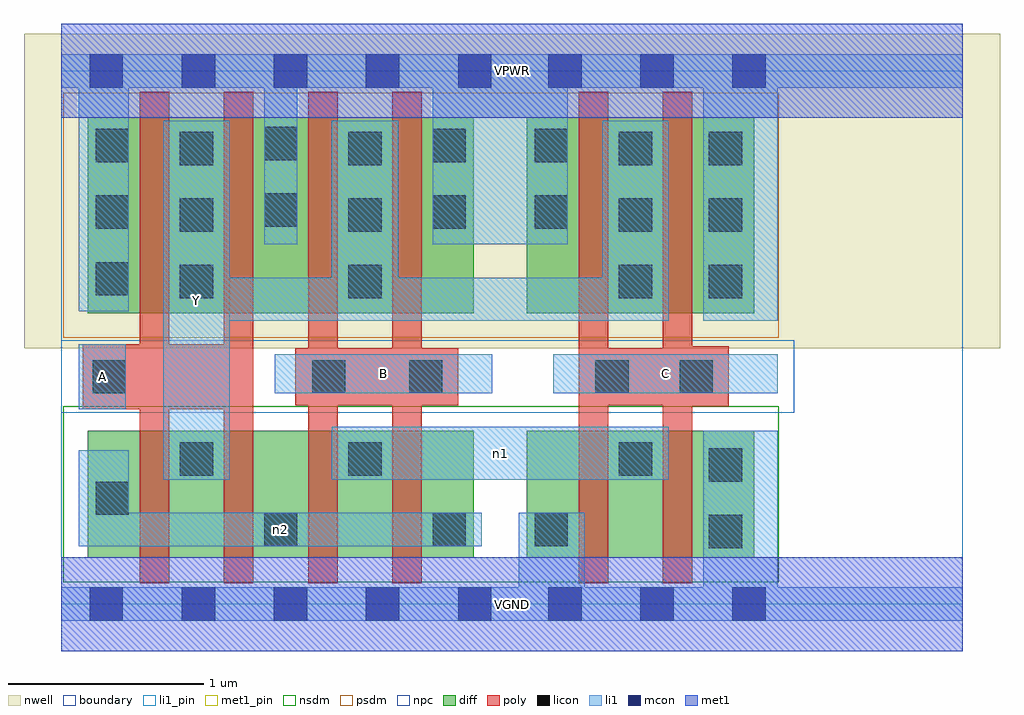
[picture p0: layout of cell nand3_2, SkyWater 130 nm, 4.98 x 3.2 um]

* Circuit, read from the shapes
.subckt nand3_2 A B C VGND VPWR Y n1 n2
XM1 Y A n2 VSUBS sky130_fd_pr__nfet_01v8 w=0.65 l=0.15 m=2
XM2 n1 B n2 VSUBS sky130_fd_pr__nfet_01v8 w=0.65 l=0.15 m=2
XM3 n1 C VGND VSUBS sky130_fd_pr__nfet_01v8 w=0.65 l=0.15 m=2
XM4 Y A VPWR n3 sky130_fd_pr__pfet_01v8 w=1 l=0.15 m=2
XM5 Y B VPWR n3 sky130_fd_pr__pfet_01v8 w=1 l=0.15 m=2
XM6 Y C VPWR n3 sky130_fd_pr__pfet_01v8 w=1 l=0.15 m=2
.ends

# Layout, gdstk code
import gdstk
lib = gdstk.Library(unit=1e-6, precision=1e-09)
def R(c, l, rs):  # rectangles x0, y0, x1, y1
    for r in rs: c.add(gdstk.rectangle(r[:2], r[2:], *l))
def A(c, l, x, y, w, h, nx, ny, dx, dy):  # array of equal rectangles
    R(c, l, [(x+i*dx, y+j*dy, x+i*dx+w, y+j*dy+h) for i in range(nx) for j in range(ny)])
nwell = (64, 20)
diff = (65, 20)
poly = (66, 20)
licon = (66, 44)
li1_pin = (67, 16)
li1 = (67, 20)
mcon = (67, 44)
met1_pin = (68, 16)
met1 = (68, 20)
nsdm = (93, 44)
psdm = (94, 20)
npc = (95, 20)
boundary = (235, 4)

nand3_2 = lib.new_cell('nand3_2')
R(nand3_2, nwell, [(-0.19,1.305,4.79,2.91), (0,1.305,4.6,2.91)])
R(nand3_2, diff, [(0.135,0.235,2.105,0.885), (2.375,0.235,3.535,0.885), (0.135,1.485,2.105,2.485), (2.375,1.485,3.535,2.485)])
A(nand3_2, poly, 0.4, 0.105, 0.15, 2.51, 4, 1, 0.43, 0)
R(nand3_2, poly, [(2.64,0.105,2.79,2.615), (3.07,0.105,3.22,2.615), (0.11,0.995,0.98,1.325), (3.07,1.01,3.405,1.315), (1.195,1.015,2.025,1.305), (2.64,1.015,3.405,1.305)])
A(nand3_2, licon, 0.605, 1.56, 0.17, 0.17, 1, 3, 0, 0.34)
A(nand3_2, licon, 1.465, 1.56, 0.17, 0.17, 1, 3, 0, 0.34)
A(nand3_2, licon, 2.845, 1.56, 0.17, 0.17, 1, 3, 0, 0.34)
A(nand3_2, licon, 3.305, 1.56, 0.17, 0.17, 1, 3, 0, 0.34)
A(nand3_2, licon, 0.175, 1.575, 0.17, 0.17, 1, 3, 0, 0.34)
R(nand3_2, licon, [(3.305,0.285,3.475,0.455), (1.035,0.295,1.205,0.465), (1.895,0.295,2.065,0.465), (2.415,0.295,2.585,0.465), (0.175,0.455,0.345,0.625), (3.305,0.625,3.475,0.795), (0.605,0.655,0.775,0.825), (1.465,0.655,1.635,0.825), (2.845,0.655,3.015,0.825), (0.16,1.075,0.33,1.245), (1.28,1.075,1.45,1.245), (1.775,1.075,1.945,1.245), (2.725,1.075,2.895,1.245), (3.155,1.075,3.325,1.245), (1.895,1.915,2.065,2.085), (2.415,1.915,2.585,2.085), (1.035,1.925,1.205,2.095), (1.895,2.255,2.065,2.425), (2.415,2.255,2.585,2.425), (1.035,2.265,1.205,2.435)])
R(nand3_2, li1_pin, [(0.52,0.635,0.86,2.465), (0.09,0.995,0.33,1.325), (1.09,1.075,2.2,1.275), (2.51,1.075,3.655,1.275)])
R(nand3_2, li1, [(0,-0.085,4.6,0.085), (2.335,-0.085,2.67,0.465), (3.275,-0.085,3.655,0.885), (0.09,0.295,2.145,0.465), (0.09,0.295,0.345,0.785), (0.52,0.635,0.86,2.465), (1.38,0.635,3.1,0.905), (0.09,0.995,0.33,1.325), (1.09,1.075,2.2,1.275), (2.51,1.075,3.655,1.275), (0.52,1.445,3.1,1.665), (1.38,1.445,1.72,2.465), (2.76,1.445,3.1,2.465), (3.275,1.445,3.655,2.805), (0.09,1.495,0.345,2.805), (1.035,1.835,1.205,2.805), (1.895,1.835,2.585,2.805), (0,2.635,4.6,2.805)])
A(nand3_2, mcon, 0.145, -0.085, 0.17, 0.17, 5, 2, 0.47, 2.72)
A(nand3_2, mcon, 2.485, -0.085, 0.17, 0.17, 3, 2, 0.47, 2.72)
R(nand3_2, met1_pin, [(0,-0.24,4.6,0.24), (0,2.48,4.6,2.96)])
R(nand3_2, met1, [(0,-0.24,4.6,0.24), (0,2.48,4.6,2.96)])
R(nand3_2, nsdm, [(0.01,0.11,3.66,1.01)])
R(nand3_2, psdm, [(0.01,1.36,3.66,2.61)])
R(nand3_2, npc, [(0,0.975,3.74,1.345)])
R(nand3_2, boundary, [(0,0,4.6,2.72)])
nand3_2.add(gdstk.Label('A', (0.21,1.16), layer=67, texttype=5))
nand3_2.add(gdstk.Label('B', (1.645,1.175), layer=67, texttype=5))
nand3_2.add(gdstk.Label('C', (3.082,1.175), layer=67, texttype=5))
nand3_2.add(gdstk.Label('Y', (0.69,1.55), layer=67, texttype=5))
nand3_2.add(gdstk.Label('n2', (1.117,0.38), layer=67, texttype=5))
nand3_2.add(gdstk.Label('n1', (2.24,0.77), layer=67, texttype=5))
nand3_2.add(gdstk.Label('VPWR', (2.3,2.72), layer=68, texttype=5))
nand3_2.add(gdstk.Label('VGND', (2.3,0), layer=68, texttype=5))
nand3_2.add(gdstk.Label('A', (0.21,1.16), layer=67, texttype=16))
nand3_2.add(gdstk.Label('B', (1.645,1.175), layer=67, texttype=16))
nand3_2.add(gdstk.Label('C', (3.082,1.175), layer=67, texttype=16))
nand3_2.add(gdstk.Label('Y', (0.69,1.55), layer=67, texttype=16))
nand3_2.add(gdstk.Label('VPWR', (2.3,2.72), layer=68, texttype=16))
nand3_2.add(gdstk.Label('VGND', (2.3,0), layer=68, texttype=16))

lib.write_gds('nand3_2.gds')
